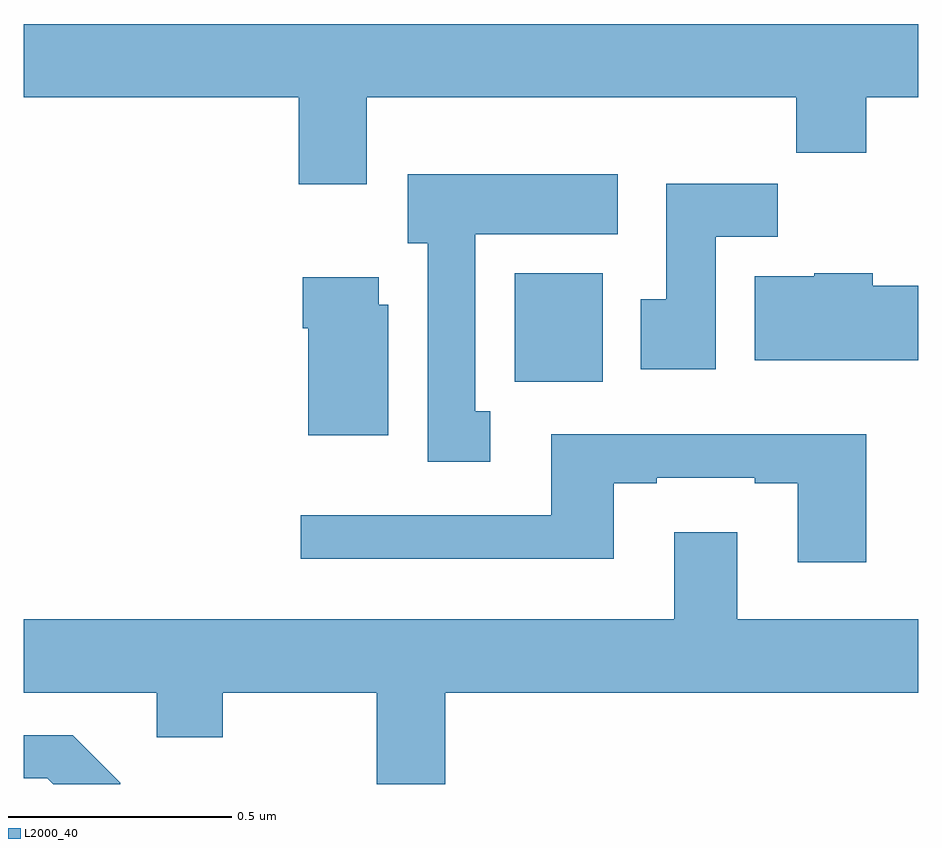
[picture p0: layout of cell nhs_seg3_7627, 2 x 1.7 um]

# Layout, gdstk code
import gdstk
lib = gdstk.Library(unit=1e-6, precision=1e-09)
def R(c, l, rs):  # rectangles x0, y0, x1, y1
    for r in rs: c.add(gdstk.rectangle(r[:2], r[2:], *l))
def P(c, l, *ps):  # polygons
    for p in ps: c.add(gdstk.Polygon(p, *l))
L2000_40 = (2000, 40)

nhs_seg3_7627 = lib.new_cell('nhs_seg3_7627')
R(nhs_seg3_7627, L2000_40, [(207.098,680.3,207.295,680.542)])
P(nhs_seg3_7627, L2000_40, [(206.767,680.936),(207.727,680.936),(207.727,680.812),(207.884,680.812),(207.884,680.936),(208,680.936),(208,681.1),(206,681.1),(206,680.936),(206.615,680.936),(206.615,680.742),(206.767,680.742)],
  [(207.043,680.234),(207.01,680.234),(207.01,680.63),(207.328,680.63),(207.328,680.764),(206.858,680.764),(206.858,680.61),(206.903,680.61),(206.903,680.121),(207.043,680.121)],
  [(207.547,680.624),(207.686,680.624),(207.686,680.743),(207.437,680.743),(207.437,680.484),(207.38,680.484),(207.38,680.328),(207.547,680.328)],
  [(208,680.514),(207.899,680.514),(207.899,680.542),(207.768,680.542),(207.768,680.536),(207.635,680.536),(207.635,680.348),(208,680.348)],
  [(206.815,680.472),(206.794,680.472),(206.794,680.533),(206.624,680.533),(206.624,680.42),(206.636,680.42),(206.636,680.18),(206.815,680.18)],
  [(207.884,680.182),(207.179,680.182),(207.179,680.001),(206.619,680.001),(206.619,679.904),(207.319,679.904),(207.319,680.073),(207.415,680.073),(207.415,680.085),(207.635,680.085),(207.635,680.073),(207.731,680.073),(207.731,679.896),(207.884,679.896)],
  [(206.942,679.604),(208,679.604),(208,679.768),(207.595,679.768),(207.595,679.963),(207.455,679.963),(207.455,679.768),(206,679.768),(206,679.604),(206.297,679.604),(206.297,679.505),(206.445,679.505),(206.445,679.604),(206.789,679.604),(206.789,679.4),(206.942,679.4)],
  [(206.215,679.403),(206.109,679.509),(206,679.509),(206,679.413),(206.052,679.413),(206.065,679.4),(206.215,679.4)])

lib.write_gds('nhs_seg3_7627.gds')
